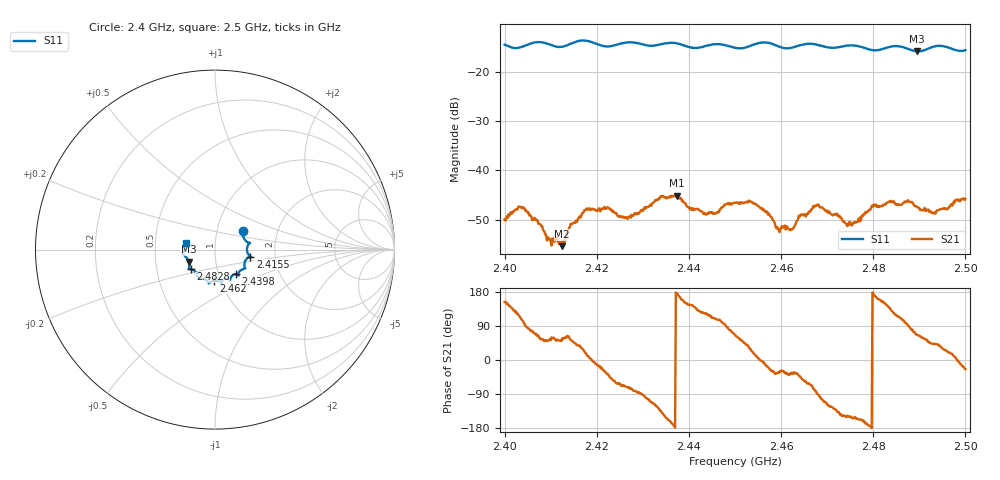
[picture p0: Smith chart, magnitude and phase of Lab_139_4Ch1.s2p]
# Hz S RI R 50
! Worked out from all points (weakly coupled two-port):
!   601 points, 2.4 GHz to 2.5 GHz, reference 50 ohm
!   highest |S21| = -45.14 dB at 2.4373 GHz (marker M1); lowest = -55.4 dB at 2.4125 GHz (marker M2)
!   lowest |S11| = -15.9 dB at 2.4895 GHz (marker M3), VSWR 1.38, Z = 37 - j5.05 ohm
!   |S11| at or under -10 dB: start of sweep to end of sweep
!   S12 and S22 are empty: the file has one direction only
!   S11 on the Smith chart (normalised r, x): 2.4 GHz: 1.33, +0.29; 2.4155 GHz: 1.49, -0.12; 2.4398 GHz: 1.21, -0.34; 2.462 GHz: 0.93, -0.33; 2.4828 GHz: 0.74, -0.17; 2.5 GHz: 0.72, +0.06
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2.4e9  0.1552 0.1059  -0.00283 0.00145  0 0  0 0
2.403833e9  0.1721 0.0484  -0.00109 0.00409  0 0  0 0
2.409667e9  0.187 0.0298  0.00123 0.00163  0 0  0 0
2.4125e9  0.1782 -0.00718  0.000918 0.00143  0 0  0 0
2.4155e9  0.1973 -0.0391  0.0023 0.00207  0 0  0 0
2.416667e9  0.2023 -0.0425  0.00297 0.00185  0 0  0 0
2.422167e9  0.1674 -0.0661  0.00331 -0.00248  0 0  0 0
2.426833e9  0.1687 -0.1037  0.000981 -0.00317  0 0  0 0
2.433333e9  0.1299 -0.1342  -0.00302 -0.00403  0 0  0 0
2.437333e9  0.1309 -0.143  -0.00552 0.000316  0 0  0 0
2.439833e9  0.1151 -0.1361  -0.00349 0.00236  0 0  0 0
2.445667e9  0.0838 -0.1702  -0.00124 0.0034  0 0  0 0
2.45e9  0.0651 -0.1619  0.00191 0.00428  0 0  0 0
2.454e9  0.0355 -0.1842  0.00444 0.00148  0 0  0 0
2.462e9  -0.00546 -0.1732  0.00203 -0.00141  0 0  0 0
2.466667e9  -0.0351 -0.1882  0.00154 -0.0037  0 0  0 0
2.474833e9  -0.0923 -0.1595  -0.00262 -0.00149  0 0  0 0
2.482833e9  -0.1359 -0.1089  -0.00385 0.00263  0 0  0 0
2.483333e9  -0.1399 -0.1088  -0.00365 0.00312  0 0  0 0
2.4895e9  -0.1461 -0.0666  0.00168 0.00391  0 0  0 0
2.493167e9  -0.1776 -0.0263  0.00272 0.00257  0 0  0 0
2.5e9  -0.1602 0.0394  0.00471 -0.0021  0 0  0 0
